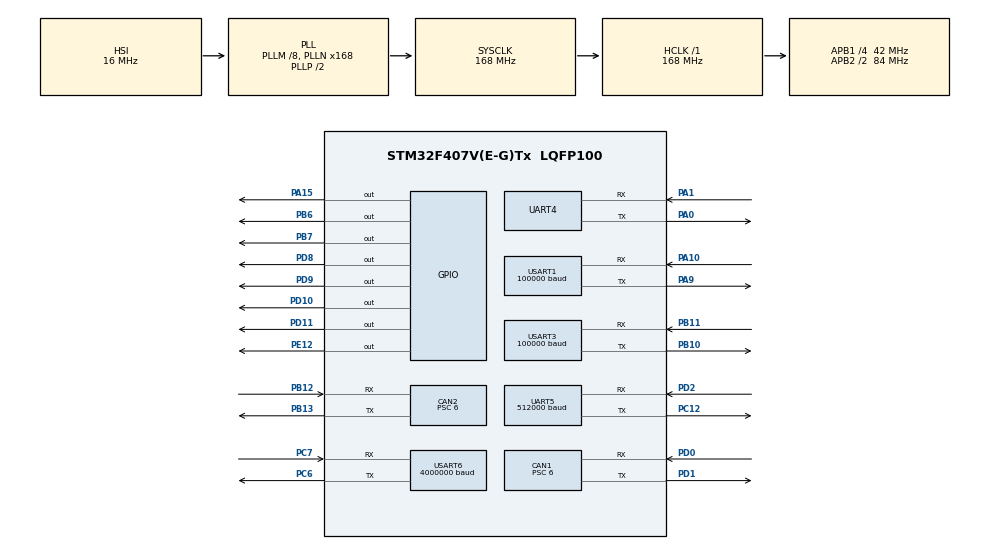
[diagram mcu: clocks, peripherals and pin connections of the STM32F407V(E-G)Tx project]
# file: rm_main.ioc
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CAN1.ABOM=ENABLE
CAN1.AWUM=DISABLE
CAN1.BS1=CAN_BS1_3TQ
CAN1.BS2=CAN_BS2_3TQ
CAN1.CalculateTimeQuantum=142.85714285714286
CAN1.Mode=CAN_MODE_NORMAL
CAN1.NART=ENABLE
CAN1.Prescaler=6
CAN1.RFLM=DISABLE
CAN1.SJW=CAN_SJW_1TQ
CAN1.TTCM=DISABLE
CAN1.TXFP=DISABLE
CAN2.ABOM=ENABLE
CAN2.AWUM=DISABLE
CAN2.BS1=CAN_BS1_3TQ
CAN2.BS2=CAN_BS2_3TQ
CAN2.CalculateTimeQuantum=142.85714285714286
CAN2.Mode=CAN_MODE_NORMAL
CAN2.NART=DISABLE
CAN2.Prescaler=6
CAN2.RFLM=DISABLE
CAN2.SJW=CAN_SJW_1TQ
CAN2.TTCM=DISABLE
CAN2.TXFP=DISABLE
Dma.Request0=USART3_RX
Dma.Request1=USART1_RX
Dma.Request2=USART1_TX
Dma.Request3=USART6_RX
Dma.Request4=USART6_TX
Dma.Request5=UART5_TX
Dma.Request6=UART5_RX
Dma.Request7=UART4_RX
Dma.Request8=UART4_TX
Dma.Request9=USART3_TX
Dma.UART4_RX.7.Direction=DMA_PERIPH_TO_MEMORY
Dma.UART4_RX.7.FIFOMode=DMA_FIFOMODE_DISABLE
Dma.UART4_RX.7.Instance=DMA1_Stream2
Dma.UART4_RX.7.MemDataAlignment=DMA_MDATAALIGN_BYTE
Dma.UART4_RX.7.MemInc=DMA_MINC_ENABLE
Dma.UART4_RX.7.Mode=DMA_NORMAL
Dma.UART4_RX.7.PeriphDataAlignment=DMA_PDATAALIGN_BYTE
Dma.UART4_RX.7.PeriphInc=DMA_PINC_DISABLE
Dma.UART4_RX.7.Priority=DMA_PRIORITY_LOW
Dma.UART4_TX.8.Direction=DMA_MEMORY_TO_PERIPH
Dma.UART4_TX.8.FIFOMode=DMA_FIFOMODE_DISABLE
Dma.UART4_TX.8.Instance=DMA1_Stream4
Dma.UART4_TX.8.MemDataAlignment=DMA_MDATAALIGN_BYTE
Dma.UART4_TX.8.MemInc=DMA_MINC_ENABLE
Dma.UART4_TX.8.Mode=DMA_NORMAL
Dma.UART4_TX.8.PeriphDataAlignment=DMA_PDATAALIGN_BYTE
Dma.UART4_TX.8.PeriphInc=DMA_PINC_DISABLE
Dma.UART4_TX.8.Priority=DMA_PRIORITY_LOW
Dma.UART5_RX.6.Direction=DMA_PERIPH_TO_MEMORY
Dma.UART5_RX.6.FIFOMode=DMA_FIFOMODE_DISABLE
Dma.UART5_RX.6.Instance=DMA1_Stream0
Dma.UART5_RX.6.MemDataAlignment=DMA_MDATAALIGN_BYTE
Dma.UART5_RX.6.MemInc=DMA_MINC_ENABLE
Dma.UART5_RX.6.Mode=DMA_NORMAL
Dma.UART5_RX.6.PeriphDataAlignment=DMA_PDATAALIGN_BYTE
Dma.UART5_RX.6.PeriphInc=DMA_PINC_DISABLE
Dma.UART5_RX.6.Priority=DMA_PRIORITY_LOW
Dma.UART5_TX.5.Direction=DMA_MEMORY_TO_PERIPH
Dma.UART5_TX.5.FIFOMode=DMA_FIFOMODE_DISABLE
Dma.UART5_TX.5.Instance=DMA1_Stream7
Dma.UART5_TX.5.MemDataAlignment=DMA_MDATAALIGN_BYTE
Dma.UART5_TX.5.MemInc=DMA_MINC_ENABLE
Dma.UART5_TX.5.Mode=DMA_NORMAL
Dma.UART5_TX.5.PeriphDataAlignment=DMA_PDATAALIGN_BYTE
Dma.UART5_TX.5.PeriphInc=DMA_PINC_DISABLE
Dma.UART5_TX.5.Priority=DMA_PRIORITY_LOW
Dma.USART1_RX.1.Direction=DMA_PERIPH_TO_MEMORY
Dma.USART1_RX.1.FIFOMode=DMA_FIFOMODE_DISABLE
Dma.USART1_RX.1.Instance=DMA2_Stream2
Dma.USART1_RX.1.MemDataAlignment=DMA_MDATAALIGN_BYTE
Dma.USART1_RX.1.MemInc=DMA_MINC_ENABLE
Dma.USART1_RX.1.Mode=DMA_CIRCULAR
Dma.USART1_RX.1.PeriphDataAlignment=DMA_PDATAALIGN_BYTE
Dma.USART1_RX.1.PeriphInc=DMA_PINC_DISABLE
Dma.USART1_RX.1.Priority=DMA_PRIORITY_LOW
Dma.USART1_TX.2.Direction=DMA_MEMORY_TO_PERIPH
Dma.USART1_TX.2.FIFOMode=DMA_FIFOMODE_DISABLE
Dma.USART1_TX.2.Instance=DMA2_Stream7
Dma.USART1_TX.2.MemDataAlignment=DMA_MDATAALIGN_BYTE
Dma.USART1_TX.2.MemInc=DMA_MINC_ENABLE
Dma.USART1_TX.2.Mode=DMA_NORMAL
Dma.USART1_TX.2.PeriphDataAlignment=DMA_PDATAALIGN_BYTE
Dma.USART1_TX.2.PeriphInc=DMA_PINC_DISABLE
Dma.USART1_TX.2.Priority=DMA_PRIORITY_LOW
Dma.USART3_RX.0.Direction=DMA_PERIPH_TO_MEMORY
Dma.USART3_RX.0.FIFOMode=DMA_FIFOMODE_DISABLE
Dma.USART3_RX.0.Instance=DMA1_Stream1
Dma.USART3_RX.0.MemDataAlignment=DMA_MDATAALIGN_BYTE
Dma.USART3_RX.0.MemInc=DMA_MINC_ENABLE
Dma.USART3_RX.0.Mode=DMA_CIRCULAR
Dma.USART3_RX.0.PeriphDataAlignment=DMA_PDATAALIGN_BYTE
Dma.USART3_RX.0.PeriphInc=DMA_PINC_DISABLE
Dma.USART3_RX.0.Priority=DMA_PRIORITY_VERY_HIGH
Dma.USART3_TX.9.Direction=DMA_MEMORY_TO_PERIPH
Dma.USART3_TX.9.FIFOMode=DMA_FIFOMODE_DISABLE
Dma.USART3_TX.9.Instance=DMA1_Stream3
Dma.USART3_TX.9.MemDataAlignment=DMA_MDATAALIGN_BYTE
Dma.USART3_TX.9.MemInc=DMA_MINC_ENABLE
Dma.USART3_TX.9.Mode=DMA_NORMAL
Dma.USART3_TX.9.PeriphDataAlignment=DMA_PDATAALIGN_BYTE
Dma.USART3_TX.9.PeriphInc=DMA_PINC_DISABLE
Dma.USART3_TX.9.Priority=DMA_PRIORITY_LOW
Dma.USART6_RX.3.Direction=DMA_PERIPH_TO_MEMORY
Dma.USART6_RX.3.FIFOMode=DMA_FIFOMODE_DISABLE
Dma.USART6_RX.3.Instance=DMA2_Stream1
Dma.USART6_RX.3.MemDataAlignment=DMA_MDATAALIGN_BYTE
Dma.USART6_RX.3.MemInc=DMA_MINC_ENABLE
Dma.USART6_RX.3.Mode=DMA_NORMAL
Dma.USART6_RX.3.PeriphDataAlignment=DMA_PDATAALIGN_BYTE
Dma.USART6_RX.3.PeriphInc=DMA_PINC_DISABLE
Dma.USART6_RX.3.Priority=DMA_PRIORITY_LOW
Dma.USART6_TX.4.Direction=DMA_MEMORY_TO_PERIPH
Dma.USART6_TX.4.FIFOMode=DMA_FIFOMODE_DISABLE
Dma.USART6_TX.4.Instance=DMA2_Stream6
Dma.USART6_TX.4.MemDataAlignment=DMA_MDATAALIGN_BYTE
Dma.USART6_TX.4.MemInc=DMA_MINC_ENABLE
Dma.USART6_TX.4.Mode=DMA_NORMAL
Dma.USART6_TX.4.PeriphDataAlignment=DMA_PDATAALIGN_BYTE
Dma.USART6_TX.4.PeriphInc=DMA_PINC_DISABLE
Dma.USART6_TX.4.Priority=DMA_PRIORITY_LOW
FREERTOS.HEAP_NUMBER=4
FREERTOS.INCLUDE_eTaskGetState=0
FREERTOS.INCLUDE_pcTaskGetTaskName=0
FREERTOS.INCLUDE_uxTaskGetStackHighWaterMark=1
FREERTOS.INCLUDE_uxTaskPriorityGet=1
FREERTOS.INCLUDE_vTaskCleanUpResources=0
FREERTOS.INCLUDE_vTaskDelay=1
FREERTOS.INCLUDE_vTaskDelayUntil=1
FREERTOS.INCLUDE_vTaskDelete=1
FREERTOS.INCLUDE_vTaskPrioritySet=1
FREERTOS.INCLUDE_vTaskSuspend=1
FREERTOS.INCLUDE_xEventGroupSetBitFromISR=0
FREERTOS.INCLUDE_xQueueGetMutexHolder=0
FREERTOS.INCLUDE_xSemaphoreGetMutexHolder=0
FREERTOS.INCLUDE_xTaskAbortDelay=0
FREERTOS.INCLUDE_xTaskGetCurrentTaskHandle=0
FREERTOS.INCLUDE_xTaskGetHandle=0
FREERTOS.INCLUDE_xTaskGetSchedulerState=1
FREERTOS.INCLUDE_xTaskResumeFromISR=1
FREERTOS.INCLUDE_xTimerPendFunctionCall=0
FREERTOS.MEMORY_ALLOCATION=2
FREERTOS.Tasks01=defaultTask,0,128,StartDefaultTask,Default,NULL
FREERTOS.configCHECK_FOR_STACK_OVERFLOW=0
FREERTOS.configENABLE_BACKWARD_COMPATIBILITY=1
FREERTOS.configGENERATE_RUN_TIME_STATS=0
FREERTOS.configIDLE_SHOULD_YIELD=1
FREERTOS.configLIBRARY_LOWEST_INTERRUPT_PRIORITY=15
FREERTOS.configLIBRARY_MAX_SYSCALL_INTERRUPT_PRIORITY=5
FREERTOS.configMAX_CO_ROUTINE_PRIORITIES=2
FREERTOS.configMAX_PRIORITIES=7
FREERTOS.configMAX_TASK_NAME_LEN=16
FREERTOS.configMINIMAL_STACK_SIZE=128
FREERTOS.configQUEUE_REGISTRY_SIZE=8
FREERTOS.configRECORD_STACK_HIGH_ADDRESS=0
FREERTOS.configTICK_RATE_HZ=1000
FREERTOS.configTIMER_QUEUE_LENGTH=10
FREERTOS.configTIMER_TASK_PRIORITY=2
FREERTOS.configTIMER_TASK_STACK_DEPTH=256
FREERTOS.configTOTAL_HEAP_SIZE=15360
FREERTOS.configUSE_APPLICATION_TASK_TAG=0
FREERTOS.configUSE_COUNTING_SEMAPHORES=0
FREERTOS.configUSE_CO_ROUTINES=0
FREERTOS.configUSE_DAEMON_TASK_STARTUP_HOOK=0
FREERTOS.configUSE_IDLE_HOOK=0
FREERTOS.configUSE_MALLOC_FAILED_HOOK=0
FREERTOS.configUSE_MUTEXES=1
FREERTOS.configUSE_PREEMPTION=1
FREERTOS.configUSE_RECURSIVE_MUTEXES=0
FREERTOS.configUSE_STATS_FORMATTING_FUNCTIONS=0
FREERTOS.configUSE_TASK_NOTIFICATIONS=1
FREERTOS.configUSE_TICKLESS_IDLE=0
FREERTOS.configUSE_TICK_HOOK=0
FREERTOS.configUSE_TIMERS=1
FREERTOS.configUSE_TRACE_FACILITY=0
Mcu.Family=STM32F4
Mcu.Name=STM32F407V(E-G)Tx
Mcu.Package=LQFP100
NVIC.CAN1_RX0_IRQn=true\:5\:0\:false\:false\:true\:true\:true\:true
NVIC.CAN1_RX1_IRQn=true\:5\:0\:false\:false\:true\:true\:true\:true
NVIC.CAN1_SCE_IRQn=true\:5\:0\:false\:false\:true\:true\:true\:true
NVIC.CAN1_TX_IRQn=true\:5\:0\:false\:false\:true\:true\:true\:true
NVIC.CAN2_RX0_IRQn=true\:5\:0\:false\:false\:true\:true\:true\:true
NVIC.CAN2_RX1_IRQn=true\:5\:0\:false\:false\:true\:true\:true\:true
NVIC.CAN2_SCE_IRQn=true\:5\:0\:false\:false\:true\:true\:true\:true
NVIC.CAN2_TX_IRQn=true\:5\:0\:false\:false\:true\:true\:true\:true
NVIC.DMA1_Stream0_IRQn=true\:5\:0\:false\:false\:true\:true\:false\:true
NVIC.DMA1_Stream1_IRQn=true\:5\:0\:false\:false\:true\:true\:false\:true
NVIC.DMA1_Stream2_IRQn=true\:5\:0\:false\:false\:true\:true\:false\:true
NVIC.DMA1_Stream3_IRQn=true\:5\:0\:false\:false\:true\:true\:false\:true
NVIC.DMA1_Stream4_IRQn=true\:5\:0\:false\:false\:true\:true\:false\:true
NVIC.DMA1_Stream7_IRQn=true\:5\:0\:false\:false\:true\:true\:false\:true
NVIC.DMA2_Stream1_IRQn=true\:5\:0\:false\:false\:true\:true\:false\:true
NVIC.DMA2_Stream2_IRQn=true\:5\:0\:true\:false\:true\:true\:false\:true
NVIC.DMA2_Stream6_IRQn=true\:5\:0\:false\:false\:true\:true\:false\:true
NVIC.DMA2_Stream7_IRQn=true\:5\:0\:true\:false\:true\:true\:false\:true
NVIC.PriorityGroup=NVIC_PRIORITYGROUP_4
NVIC.TIM1_UP_TIM10_IRQn=true\:0\:0\:false\:false\:true\:false\:false\:true
NVIC.TIM5_IRQn=true\:5\:0\:false\:false\:true\:true\:true\:true
NVIC.TIM8_TRG_COM_TIM14_IRQn=true\:5\:0\:false\:false\:true\:true\:true\:true
NVIC.TimeBase=TIM1_UP_TIM10_IRQn
NVIC.TimeBaseIP=TIM10
NVIC.UART4_IRQn=true\:5\:0\:false\:false\:true\:true\:true\:true
NVIC.UART5_IRQn=true\:5\:0\:false\:false\:true\:true\:true\:true
NVIC.USART1_IRQn=true\:5\:0\:true\:false\:true\:true\:true\:true
NVIC.USART3_IRQn=true\:5\:0\:false\:false\:true\:true\:true\:true
NVIC.USART6_IRQn=true\:5\:0\:false\:false\:true\:true\:true\:true
PA0-WKUP.Mode=Asynchronous
PA0-WKUP.Signal=UART4_TX
PA1.Mode=Asynchronous
PA1.Signal=UART4_RX
PA10.Mode=Asynchronous
PA10.Signal=USART1_RX
PA13.Mode=Serial_Wire
PA13.Signal=SYS_JTMS-SWDIO
PA14.Mode=Serial_Wire
PA14.Signal=SYS_JTCK-SWCLK
PA15.GPIO_ModeDefaultOutputPP=GPIO_MODE_OUTPUT_PP
PA15.GPIO_PuPd=GPIO_NOPULL
PA15.GPIO_Speed=GPIO_SPEED_FREQ_LOW
PA15.PinState=GPIO_PIN_RESET
PA15.Signal=GPIO_Output
PA9.Mode=Asynchronous
PA9.Signal=USART1_TX
PB0.Signal=S_TIM3_CH3
PB10.GPIO_Mode=GPIO_MODE_AF_PP
PB10.GPIO_PuPd=GPIO_PULLUP
PB10.GPIO_Speed=GPIO_SPEED_FREQ_VERY_HIGH
PB10.Mode=Asynchronous
PB10.Signal=USART3_TX
PB11.GPIO_Mode=GPIO_MODE_AF_PP
PB11.GPIO_PuPd=GPIO_PULLUP
PB11.GPIO_Speed=GPIO_SPEED_FREQ_VERY_HIGH
PB11.Mode=Asynchronous
PB11.Signal=USART3_RX
PB12.Mode=Slave
PB12.Signal=CAN2_RX
PB13.Mode=Slave
PB13.Signal=CAN2_TX
PB14.Signal=S_TIM12_CH1
PB6.GPIO_ModeDefaultOutputPP=GPIO_MODE_OUTPUT_PP
PB6.GPIO_PuPd=GPIO_NOPULL
PB6.GPIO_Speed=GPIO_SPEED_FREQ_LOW
PB6.PinState=GPIO_PIN_RESET
PB6.Signal=GPIO_Output
PB7.GPIO_ModeDefaultOutputPP=GPIO_MODE_OUTPUT_PP
PB7.GPIO_PuPd=GPIO_NOPULL
PB7.GPIO_Speed=GPIO_SPEED_FREQ_LOW
PB7.PinState=GPIO_PIN_RESET
PB7.Signal=GPIO_Output
PC12.Mode=Asynchronous
PC12.Signal=UART5_TX
PC14-OSC32_IN.Mode=LSE-External-Oscillator
PC14-OSC32_IN.Signal=RCC_OSC32_IN
PC15-OSC32_OUT.Mode=LSE-External-Oscillator
PC15-OSC32_OUT.Signal=RCC_OSC32_OUT
PC6.Mode=Asynchronous
PC6.Signal=USART6_TX
PC7.Mode=Asynchronous
PC7.Signal=USART6_RX
PD0.Mode=Master
PD0.Signal=CAN1_RX
PD1.Mode=Master
PD1.Signal=CAN1_TX
PD10.GPIO_ModeDefaultOutputPP=GPIO_MODE_OUTPUT_PP
PD10.GPIO_PuPd=GPIO_NOPULL
PD10.GPIO_Speed=GPIO_SPEED_FREQ_LOW
PD10.PinState=GPIO_PIN_RESET
PD10.Signal=GPIO_Output
PD11.GPIO_ModeDefaultOutputPP=GPIO_MODE_OUTPUT_PP
PD11.GPIO_PuPd=GPIO_NOPULL
PD11.GPIO_Speed=GPIO_SPEED_FREQ_LOW
PD11.PinState=GPIO_PIN_RESET
PD11.Signal=GPIO_Output
PD2.Mode=Asynchronous
PD2.Signal=UART5_RX
PD8.GPIO_ModeDefaultOutputPP=GPIO_MODE_OUTPUT_PP
PD8.GPIO_PuPd=GPIO_NOPULL
PD8.GPIO_Speed=GPIO_SPEED_FREQ_LOW
PD8.PinState=GPIO_PIN_RESET
PD8.Signal=GPIO_Output
PD9.GPIO_ModeDefaultOutputPP=GPIO_MODE_OUTPUT_PP
PD9.GPIO_PuPd=GPIO_NOPULL
PD9.GPIO_Speed=GPIO_SPEED_FREQ_LOW
PD9.PinState=GPIO_PIN_RESET
PD9.Signal=GPIO_Output
PE12.Signal=GPIO_Output
PH0-OSC_IN.Mode=HSE-External-Oscillator
PH0-OSC_IN.Signal=RCC_OSC_IN
PH1-OSC_OUT.Mode=HSE-External-Oscillator
PH1-OSC_OUT.Signal=RCC_OSC_OUT
ProjectManager.HeapSize=0x2000
ProjectManager.StackSize=0x1000
ProjectManager.TargetToolchain=MDK-ARM V5
RCC.48MHZClocksFreq_Value=84000000
RCC.AHBFreq_Value=168000000
RCC.APB1CLKDivider=RCC_HCLK_DIV4
RCC.APB1Freq_Value=42000000
RCC.APB1TimFreq_Value=84000000
RCC.APB2CLKDivider=RCC_HCLK_DIV2
RCC.APB2Freq_Value=84000000
RCC.APB2TimFreq_Value=168000000
RCC.CortexFreq_Value=168000000
RCC.FLatency=FLASH_LATENCY_5
RCC.HCLKFreq_Value=168000000
RCC.HSE_VALUE=25000000
RCC.HSI_VALUE=16000000
RCC.PLLM=8
RCC.PLLN=168
RCC.SYSCLKFreq_VALUE=168000000
RCC.SYSCLKSource=RCC_SYSCLKSOURCE_PLLCLK
RCC.VCOOutputFreq_Value=336000000
SH.S_TIM12_CH1.0=TIM12_CH1
SH.S_TIM3_CH3.0=TIM3_CH3
TIM14.AutoReloadPreload=TIM_AUTORELOAD_PRELOAD_ENABLE
TIM14.ClockDivision=TIM_CLOCKDIVISION_DIV1
TIM14.CounterMode=TIM_COUNTERMODE_UP
TIM14.Period=499
TIM14.Prescaler=83
TIM5.AutoReloadPreload=TIM_AUTORELOAD_PRELOAD_DISABLE
TIM5.ClockDivision=TIM_CLOCKDIVISION_DIV1
TIM5.CounterMode=TIM_COUNTERMODE_UP
TIM5.Period=0xFFFFFFFF
TIM5.Prescaler=83
TIM5.TIM_MasterOutputTrigger=TIM_TRGO_RESET
TIM5.TIM_MasterSlaveMode=TIM_MASTERSLAVEMODE_DISABLE
UART4.VirtualMode=Asynchronous
UART5.BaudRate=512000
UART5.Mode=MODE_TX_RX
UART5.OverSampling=UART_OVERSAMPLING_16
UART5.Parity=PARITY_NONE
UART5.StopBits=UART_STOPBITS_1
UART5.VirtualMode=Asynchronous
UART5.WordLength=WORDLENGTH_8B
USART1.BaudRate=100000
USART1.Mode=MODE_TX_RX
USART1.OverSampling=UART_OVERSAMPLING_16
USART1.Parity=PARITY_EVEN
USART1.StopBits=STOPBITS_1
USART1.VirtualMode=VM_ASYNC
USART1.WordLength=WORDLENGTH_9B
USART3.BaudRate=100000
USART3.Mode=MODE_TX_RX
USART3.OverSampling=UART_OVERSAMPLING_16
USART3.Parity=PARITY_EVEN
USART3.StopBits=STOPBITS_1
USART3.VirtualMode=VM_ASYNC
USART3.WordLength=WORDLENGTH_9B
USART6.BaudRate=4000000
USART6.Mode=MODE_TX_RX
USART6.OverSampling=UART_OVERSAMPLING_16
USART6.Parity=PARITY_NONE
USART6.StopBits=STOPBITS_1
USART6.VirtualMode=VM_ASYNC
USART6.WordLength=WORDLENGTH_8B
VP_FREERTOS_VS_CMSIS_V1.Mode=CMSIS_V1
VP_SYS_VS_tim10.Mode=TIM10
VP_TIM14_VS_ClockSourceINT.Mode=Enable_Timer
VP_TIM5_VS_ClockSourceINT.Mode=Internal
board=custom

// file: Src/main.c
/* USER CODE BEGIN Header */
/**
  ******************************************************************************
  * @file           : main.c
  * @brief          : Main program body
  ******************************************************************************
  * @attention
  *
  * <h2><center>&copy; Copyright (c) 2023 STMicroelectronics.
  * All rights reserved.</center></h2>
  *
  * This software component is licensed by ST under Ultimate Liberty license
  * SLA0044, the "License"; You may not use this file except in compliance with
  * the License. You may obtain a copy of the License at:
  *                             www.st.com/SLA0044
  *
  ******************************************************************************
  */
/* USER CODE END Header */

#include "main.h"
#include "cmsis_os.h"
#include "can.h"
#include "dma.h"
#include "tim.h"
#include "usart.h"
#include "gpio.h"

/* USER CODE BEGIN Includes */
#include "can_comm.h"
#include "usart_comm.h"
//#include "us_tim.h"
//#include "printf.h"
/* USER CODE END Includes */

void SystemClock_Config(void);
void MX_FREERTOS_Init(void);

int main(void)
{

  /* MCU Configuration--------------------------------------------------------*/

  /* Reset of all peripherals, Initializes the Flash interface and the Systick. */
  HAL_Init();

  /* Configure the system clock */
  SystemClock_Config();

  /* Initialize all configured peripherals */
  MX_GPIO_Init();
  MX_DMA_Init();
  MX_CAN1_Init();
  MX_CAN2_Init();
  MX_UART5_Init();
  MX_USART1_UART_Init();
  MX_USART3_UART_Init();
  MX_USART6_UART_Init();
  MX_TIM5_Init();
  MX_TIM14_Init();
  MX_UART4_Init();
  /* USER CODE BEGIN 2 */
//	ust_tim_start();
	HAL_Delay(2000);
	CAN_Comm_Init();
	USART_Comm_Init();
  /* USER CODE END 2 */

  /* Call init function for freertos objects (in freertos.c) */
  MX_FREERTOS_Init();

  /* Start scheduler */
  osKernelStart();

  /* We should never get here as control is now taken by the scheduler */

  /* Infinite loop */
  while (1)
  {

  }
}

void SystemClock_Config(void)
{
  RCC_OscInitTypeDef RCC_OscInitStruct = {0};
  RCC_ClkInitTypeDef RCC_ClkInitStruct = {0};

  /** Configure the main internal regulator output voltage
  */
  __HAL_RCC_PWR_CLK_ENABLE();
  __HAL_PWR_VOLTAGESCALING_CONFIG(PWR_REGULATOR_VOLTAGE_SCALE1);
  /** Initializes the CPU, AHB and APB busses clocks
  */
  RCC_OscInitStruct.OscillatorType = RCC_OSCILLATORTYPE_HSI;
  RCC_OscInitStruct.HSIState = RCC_HSI_ON;
  RCC_OscInitStruct.HSICalibrationValue = RCC_HSICALIBRATION_DEFAULT;
  RCC_OscInitStruct.PLL.PLLState = RCC_PLL_ON;
  RCC_OscInitStruct.PLL.PLLSource = RCC_PLLSOURCE_HSI;
  RCC_OscInitStruct.PLL.PLLM = 8;
  RCC_OscInitStruct.PLL.PLLN = 168;
  RCC_OscInitStruct.PLL.PLLP = RCC_PLLP_DIV2;
  RCC_OscInitStruct.PLL.PLLQ = 4;
  if (HAL_RCC_OscConfig(&RCC_OscInitStruct) != HAL_OK)
  {
    Error_Handler();
  }
  /** Initializes the CPU, AHB and APB busses clocks
  */
  RCC_ClkInitStruct.ClockType = RCC_CLOCKTYPE_HCLK|RCC_CLOCKTYPE_SYSCLK
                              |RCC_CLOCKTYPE_PCLK1|RCC_CLOCKTYPE_PCLK2;
  RCC_ClkInitStruct.SYSCLKSource = RCC_SYSCLKSOURCE_PLLCLK;
  RCC_ClkInitStruct.AHBCLKDivider = RCC_SYSCLK_DIV1;
  RCC_ClkInitStruct.APB1CLKDivider = RCC_HCLK_DIV4;
  RCC_ClkInitStruct.APB2CLKDivider = RCC_HCLK_DIV2;

  if (HAL_RCC_ClockConfig(&RCC_ClkInitStruct, FLASH_LATENCY_5) != HAL_OK)
  {
    Error_Handler();
  }
}

void HAL_TIM_PeriodElapsedCallback(TIM_HandleTypeDef *htim)
{
  if (htim->Instance == TIM10) {
    HAL_IncTick();
  }
  /* USER CODE BEGIN Callback 1 */
	if (htim->Instance == TIM5)
	{
//		prv_us_time.overflow_cnt++;
	}
  /* USER CODE END Callback 1 */
}

void Error_Handler(void)
{
}

#ifdef  USE_FULL_ASSERT
/**
  * @brief  Reports the name of the source file and the source line number
  *         where the assert_param error has occurred.
  * @param  file: pointer to the source file name
  * @param  line: assert_param error line source number
  * @retval None
  */
void assert_failed(uint8_t *file, uint32_t line)
{
  /* USER CODE BEGIN 6 */
  /* User can add his own implementation to report the file name and line number,
     tex: printf("Wrong parameters value: file %s on line %d\r\n", file, line) */
//	DEBUG("Wrong parameters value: file %s on line %d\r\n", file, line);
//	while(1);
  /* USER CODE END 6 */
}
#endif /* USE_FULL_ASSERT */

/************************ (C) COPYRIGHT STMicroelectronics *****END OF FILE****/

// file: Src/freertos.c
/* USER CODE BEGIN Header */
/**
  ******************************************************************************
  * File Name          : freertos.c
  * Description        : Code for freertos applications
  ******************************************************************************
  * @attention
  *
  * <h2><center>&copy; Copyright (c) 2023 STMicroelectronics.
  * All rights reserved.</center></h2>
  *
  * This software component is licensed by ST under Ultimate Liberty license
  * SLA0044, the "License"; You may not use this file except in compliance with
  * the License. You may obtain a copy of the License at:
  *                             www.st.com/SLA0044
  *
  ******************************************************************************
  */
/* USER CODE END Header */

#include "FreeRTOS.h"
#include "task.h"
#include "main.h"
#include "cmsis_os.h"

/* USER CODE BEGIN Includes */
#include "can_comm.h"
#include "HTmotor_driver.h"
#include "DJImotor_driver.h"
//#include "usart.h"
//#include "us_tim.h"
//#include "printf.h"
#include "wlr.h"
#include "chassis_task.h"
#include "debug_task.h"
/* USER CODE END Includes */

/* USER CODE BEGIN Variables */
osThreadId chassis_task_t;
osThreadId debug_task_t;
/* USER CODE END Variables */
osThreadId defaultTaskHandle;

void StartDefaultTask(void const * argument);

void MX_FREERTOS_Init(void); /* (MISRA C 2004 rule 8.1) */

/* GetIdleTaskMemory prototype (linked to static allocation support) */
void vApplicationGetIdleTaskMemory( StaticTask_t **ppxIdleTaskTCBBuffer, StackType_t **ppxIdleTaskStackBuffer, uint32_t *pulIdleTaskStackSize );

/* GetTimerTaskMemory prototype (linked to static allocation support) */
void vApplicationGetTimerTaskMemory( StaticTask_t **ppxTimerTaskTCBBuffer, StackType_t **ppxTimerTaskStackBuffer, uint32_t *pulTimerTaskStackSize );

/* USER CODE BEGIN GET_IDLE_TASK_MEMORY */
static StaticTask_t xIdleTaskTCBBuffer;
static StackType_t xIdleStack[configMINIMAL_STACK_SIZE];

void vApplicationGetIdleTaskMemory( StaticTask_t **ppxIdleTaskTCBBuffer, StackType_t **ppxIdleTaskStackBuffer, uint32_t *pulIdleTaskStackSize )
{
  *ppxIdleTaskTCBBuffer = &xIdleTaskTCBBuffer;
  *ppxIdleTaskStackBuffer = &xIdleStack[0];
  *pulIdleTaskStackSize = configMINIMAL_STACK_SIZE;
  /* place for user code */
}
/* USER CODE END GET_IDLE_TASK_MEMORY */

/* USER CODE BEGIN GET_TIMER_TASK_MEMORY */
static StaticTask_t xTimerTaskTCBBuffer;
static StackType_t xTimerStack[configTIMER_TASK_STACK_DEPTH];

void vApplicationGetTimerTaskMemory( StaticTask_t **ppxTimerTaskTCBBuffer, StackType_t **ppxTimerTaskStackBuffer, uint32_t *pulTimerTaskStackSize )
{
  *ppxTimerTaskTCBBuffer = &xTimerTaskTCBBuffer;
  *ppxTimerTaskStackBuffer = &xTimerStack[0];
  *pulTimerTaskStackSize = configTIMER_TASK_STACK_DEPTH;
  /* place for user code */
}
/* USER CODE END GET_TIMER_TASK_MEMORY */

void MX_FREERTOS_Init(void) {

  /* Create the thread(s) */
  /* definition and creation of defaultTask */
  osThreadDef(defaultTask, StartDefaultTask, osPriorityNormal, 0, 128);
  defaultTaskHandle = osThreadCreate(osThread(defaultTask), NULL);

  /* USER CODE BEGIN RTOS_THREADS */
  /* add threads, ... */
	/***************************High priority task***************************/

	/***********************AboveNormal priority task***********************/
	osThreadDef(ChassisTask, Chassis_Task, osPriorityAboveNormal, 0, 512);
	chassis_task_t = osThreadCreate(osThread(ChassisTask),NULL);

	/**************************Normal priority task**************************/

	/**************************Low priority task**************************/
	osThreadDef(debugTask, debug_task, osPriorityLow, 0, 512);
	debug_task_t = osThreadCreate(osThread(debugTask),NULL);
  /* USER CODE END RTOS_THREADS */

}

void StartDefaultTask(void const * argument)
{

  /* USER CODE BEGIN StartDefaultTask */
//	static ust_t test_period,test_interval;
	uint32_t thread_wake_time = osKernelSysTick();
  /* Infinite loop */
  for(;;)
  {
//	ust_interval_test_start(&test_interval);
////	ust_delay(1000000);
//	HAL_Delay(1000);
//	ust_interval_test_end(&test_interval);
//	ust_period_test(&test_period);
//	DEBUG("period time is %f\ninterval time is %f\n",test_period.dt,test_interval.dt);

//	HTmotor_SendControlPara(&joint_motor[0]);
//	HTmotor_SendControlPara(&joint_motor[1]);
//	HTmotor_SendControlPara(&joint_motor[2]);
//	HTmotor_SendControlPara(&joint_motor[3]);
//
//	DJImotor_SendControlTorque();
	osDelayUntil(&thread_wake_time, 1);
  }
  /* USER CODE END StartDefaultTask */
}

/************************ (C) COPYRIGHT STMicroelectronics *****END OF FILE****/
